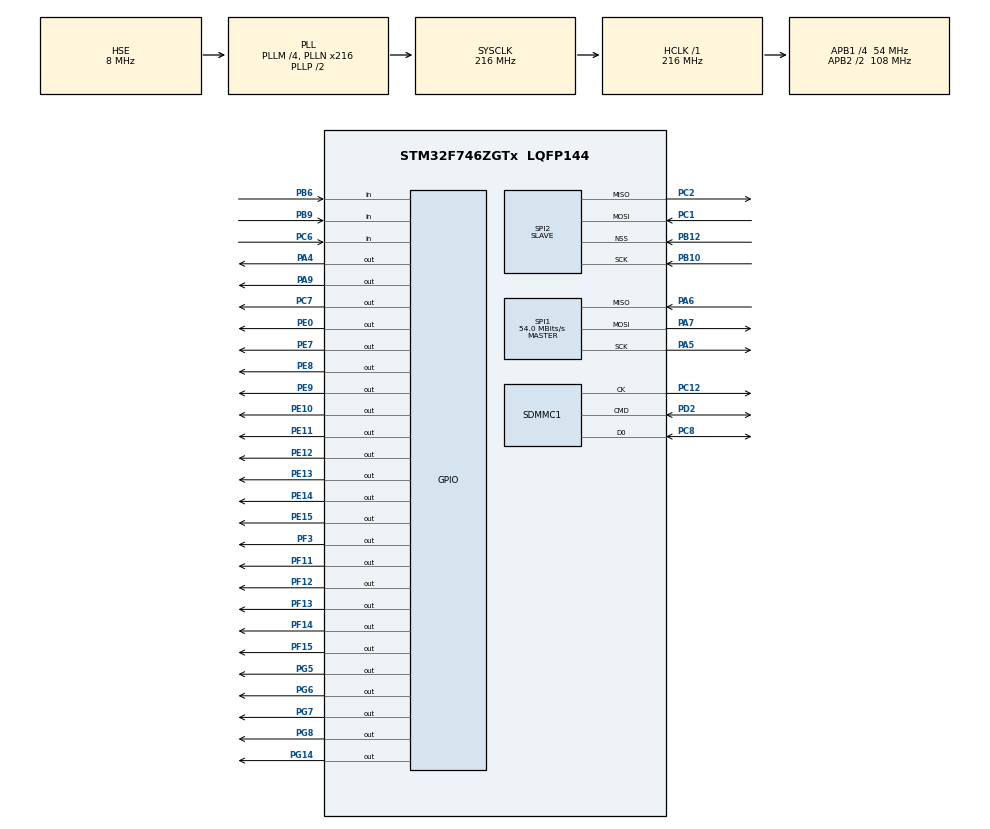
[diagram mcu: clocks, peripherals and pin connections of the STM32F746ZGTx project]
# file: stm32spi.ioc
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CORTEX_M7.ART_ACCLERATOR_ENABLE=1
CORTEX_M7.CPU_DCache=Enabled
CORTEX_M7.CPU_ICache=Enabled
CORTEX_M7.PREFETCH_ENABLE=1
Dma.Request0=SPI2_RX
Dma.SPI2_RX.0.Direction=DMA_PERIPH_TO_MEMORY
Dma.SPI2_RX.0.FIFOMode=DMA_FIFOMODE_DISABLE
Dma.SPI2_RX.0.Instance=DMA1_Stream3
Dma.SPI2_RX.0.MemDataAlignment=DMA_MDATAALIGN_BYTE
Dma.SPI2_RX.0.MemInc=DMA_MINC_ENABLE
Dma.SPI2_RX.0.Mode=DMA_CIRCULAR
Dma.SPI2_RX.0.PeriphDataAlignment=DMA_PDATAALIGN_BYTE
Dma.SPI2_RX.0.PeriphInc=DMA_PINC_DISABLE
Dma.SPI2_RX.0.Priority=DMA_PRIORITY_LOW
FATFS.BSP.number=1
FATFS._FS_EXFAT=1
FATFS._FS_LOCK=1
FATFS._FS_NOFSINFO=3
FATFS._FS_RPATH=2
FATFS._USE_LFN=2
FATFS._VOLUMES=1
FATFS0.BSP.STBoard=false
FATFS0.BSP.api=Unknown
FATFS0.BSP.i2caddr=0
FATFS0.BSP.instance=PB9
FATFS0.BSP.ip=GPIO
FATFS0.BSP.mode=Input
FATFS0.BSP.name=Detect_SDIO
FATFS0.BSP.solution=PB9
Mcu.Family=STM32F7
Mcu.Name=STM32F746ZGTx
Mcu.Package=LQFP144
NVIC.DMA1_Stream3_IRQn=true\:0\:0\:false\:false\:true\:false
NVIC.PriorityGroup=NVIC_PRIORITYGROUP_4
NVIC.RCC_IRQn=true\:0\:0\:false\:false\:true\:true
NVIC.SPI1_IRQn=true\:0\:0\:false\:false\:true\:true
NVIC.SPI2_IRQn=true\:0\:0\:false\:false\:true\:true
PA13.Mode=Serial_Wire
PA13.Signal=SYS_JTMS-SWDIO
PA14.Mode=Serial_Wire
PA14.Signal=SYS_JTCK-SWCLK
PA4.GPIO_Speed=GPIO_SPEED_FREQ_VERY_HIGH
PA4.PinState=GPIO_PIN_SET
PA4.Signal=GPIO_Output
PA5.Mode=Full_Duplex_Master
PA5.Signal=SPI1_SCK
PA6.Mode=Full_Duplex_Master
PA6.Signal=SPI1_MISO
PA7.Mode=Full_Duplex_Master
PA7.Signal=SPI1_MOSI
PA9.GPIO_PuPd=GPIO_PULLUP
PA9.GPIO_Speed=GPIO_SPEED_FREQ_VERY_HIGH
PA9.Signal=GPIO_Output
PB10.Mode=Full_Duplex_Slave
PB10.Signal=SPI2_SCK
PB12.Mode=NSS_Signal_Hard_Input
PB12.Signal=SPI2_NSS
PB6.GPIO_PuPd=GPIO_PULLUP
PB6.Signal=GPIO_Input
PB9.Signal=GPIO_Input
PC1.Mode=Full_Duplex_Slave
PC1.Signal=SPI2_MOSI
PC12.Mode=SD_1_bit
PC12.Signal=SDMMC1_CK
PC2.Mode=Full_Duplex_Slave
PC2.Signal=SPI2_MISO
PC6.Signal=GPIO_Input
PC7.GPIO_PuPd=GPIO_PULLUP
PC7.GPIO_Speed=GPIO_SPEED_FREQ_VERY_HIGH
PC7.Signal=GPIO_Output
PC8.Mode=SD_1_bit
PC8.Signal=SDMMC1_D0
PD2.Mode=SD_1_bit
PD2.Signal=SDMMC1_CMD
PE0.Signal=GPIO_Output
PE10.Signal=GPIO_Output
PE11.Signal=GPIO_Output
PE12.Signal=GPIO_Output
PE13.Signal=GPIO_Output
PE14.Signal=GPIO_Output
PE15.Signal=GPIO_Output
PE7.Signal=GPIO_Output
PE8.Signal=GPIO_Output
PE9.Signal=GPIO_Output
PF11.Signal=GPIO_Output
PF12.Signal=GPIO_Output
PF13.Signal=GPIO_Output
PF14.Signal=GPIO_Output
PF15.Signal=GPIO_Output
PF3.Signal=GPIO_Output
PG14.Signal=GPIO_Output
PG5.Signal=GPIO_Output
PG6.Signal=GPIO_Output
PG7.Signal=GPIO_Output
PG8.Signal=GPIO_Output
PH0/OSC_IN.Mode=HSE-External-Oscillator
PH0/OSC_IN.Signal=RCC_OSC_IN
PH1/OSC_OUT.Mode=HSE-External-Oscillator
PH1/OSC_OUT.Signal=RCC_OSC_OUT
ProjectManager.HeapSize=0x2000
ProjectManager.StackSize=0x8000
ProjectManager.TargetToolchain=SW4STM32
RCC.AHBFreq_Value=216000000
RCC.APB1CLKDivider=RCC_HCLK_DIV4
RCC.APB1Freq_Value=54000000
RCC.APB1TimFreq_Value=108000000
RCC.APB2CLKDivider=RCC_HCLK_DIV2
RCC.APB2Freq_Value=108000000
RCC.APB2TimFreq_Value=216000000
RCC.CortexFreq_Value=216000000
RCC.HCLKFreq_Value=216000000
RCC.HSE_VALUE=8000000
RCC.HSI_VALUE=16000000
RCC.LSE_VALUE=32768
RCC.PLLM=4
RCC.PLLN=216
RCC.PLLQ=9
RCC.PLLSourceVirtual=RCC_PLLSOURCE_HSE
RCC.SDMMCClockSelection=RCC_SDMMC1CLKSOURCE_CLK48
RCC.SYSCLKFreq_VALUE=216000000
RCC.SYSCLKSource=RCC_SYSCLKSOURCE_PLLCLK
RCC.USBFreq_Value=48000000
RCC.VCOOutputFreq_Value=432000000
SPI1.CalculateBaudRate=54.0 MBits/s
SPI1.DataSize=SPI_DATASIZE_16BIT
SPI1.Direction=SPI_DIRECTION_2LINES
SPI1.Mode=SPI_MODE_MASTER
SPI1.VirtualType=VM_MASTER
SPI2.CRCCalculation=SPI_CRCCALCULATION_DISABLE
SPI2.DataSize=SPI_DATASIZE_16BIT
SPI2.Direction=SPI_DIRECTION_2LINES
SPI2.Mode=SPI_MODE_SLAVE
SPI2.VirtualNSS=VM_NSSHARD
SPI2.VirtualType=VM_SLAVE
VP_FATFS_VS_SDIO.Mode=SDIO
board=custom

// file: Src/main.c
/* USER CODE BEGIN Header */
/**
  ******************************************************************************
  * @file           : main.c
  * @brief          : Main program body
  ******************************************************************************
  ** This notice applies to any and all portions of this file
  * that are not between comment pairs USER CODE BEGIN and
  * USER CODE END. Other portions of this file, whether
  * inserted by the user or by software development tools
  * are owned by their respective copyright owners.
  *
  * COPYRIGHT(c) 2018 STMicroelectronics
  *
  * Redistribution and use in source and binary forms, with or without modification,
  * are permitted provided that the following conditions are met:
  *   1. Redistributions of source code must retain the above copyright notice,
  *      this list of conditions and the following disclaimer.
  *   2. Redistributions in binary form must reproduce the above copyright notice,
  *      this list of conditions and the following disclaimer in the documentation
  *      and/or other materials provided with the distribution.
  *   3. Neither the name of STMicroelectronics nor the names of its contributors
  *      may be used to endorse or promote products derived from this software
  *      without specific prior written permission.
  *
  * THIS SOFTWARE IS PROVIDED BY THE COPYRIGHT HOLDERS AND CONTRIBUTORS "AS IS"
  * AND ANY EXPRESS OR IMPLIED WARRANTIES, INCLUDING, BUT NOT LIMITED TO, THE
  * IMPLIED WARRANTIES OF MERCHANTABILITY AND FITNESS FOR A PARTICULAR PURPOSE ARE
  * DISCLAIMED. IN NO EVENT SHALL THE COPYRIGHT HOLDER OR CONTRIBUTORS BE LIABLE
  * FOR ANY DIRECT, INDIRECT, INCIDENTAL, SPECIAL, EXEMPLARY, OR CONSEQUENTIAL
  * DAMAGES (INCLUDING, BUT NOT LIMITED TO, PROCUREMENT OF SUBSTITUTE GOODS OR
  * SERVICES; LOSS OF USE, DATA, OR PROFITS; OR BUSINESS INTERRUPTION) HOWEVER
  * CAUSED AND ON ANY THEORY OF LIABILITY, WHETHER IN CONTRACT, STRICT LIABILITY,
  * OR TORT (INCLUDING NEGLIGENCE OR OTHERWISE) ARISING IN ANY WAY OUT OF THE USE
  * OF THIS SOFTWARE, EVEN IF ADVISED OF THE POSSIBILITY OF SUCH DAMAGE.
  *
  ******************************************************************************
  */
/* USER CODE END Header */

#include "main.h"
#include "dma.h"
#include "fatfs.h"
#include "sdmmc.h"
#include "spi.h"
#include "gpio.h"

/* USER CODE BEGIN Includes */
#include "stdio.h"
/* USER CODE END Includes */

void SystemClock_Config(void);

/* USER CODE BEGIN 0 */
//DEL_1
#define SpiEn		HAL_GPIO_WritePin(GPIOA,GPIO_PIN_4,GPIO_PIN_RESET);
#define SpiDis		HAL_GPIO_WritePin(GPIOA,GPIO_PIN_4,GPIO_PIN_SET);
#define ResendEn	HAL_GPIO_WritePin(GPIOA, GPIO_PIN_9, GPIO_PIN_RESET);
#define ResendDis	HAL_GPIO_WritePin(GPIOA, GPIO_PIN_9, GPIO_PIN_SET);
#define SendDis		HAL_GPIO_WritePin(GPIOC, GPIO_PIN_7, GPIO_PIN_RESET);
#define SendEn		HAL_GPIO_WritePin(GPIOC, GPIO_PIN_7, GPIO_PIN_SET);
#define ResetEn 	HAL_GPIO_WritePin(GPIOB, GPIO_PIN_6, GPIO_PIN_RESET);
#define ResetDis	HAL_GPIO_WritePin(GPIOB, GPIO_PIN_6, GPIO_PIN_SET);
#define SD_GET_INFO         0x1B1B
#define SD_GET_SIZE         0x2D2D
#define SD_GET_OPEN_SPACE   0x3636
#define SD_LOAD_ISO         0x4E4E
#define SD_TYPE				0x02
#define SD_VER				0x01
#define SD_CAPACITY			0x0000

uint8_t send_data = 32;
uint8_t receive_data = 0;
char readData[32];

FRESULT res;
FATFS SDFatFs;
FIL myFile;
char buffwr[30] = "This is Test programming\n\r";
char buffrd[30];
//char SDPath[10];
uint32_t byteswritten, bytesread;
//enum _bool{
//	false = 0,
//	true = 1;
//};
typedef enum _bool boolean;

/*
 * The Txbuffer in hardware should empty, we have the address, read it.
 * Find the function that takes in the Tx buffer and copies it to the Rx buffer.
 */

/* USER CODE END 0 */

int main(void)
{

  /* Enable I-Cache---------------------------------------------------------*/
  SCB_EnableICache();

  /* Enable D-Cache---------------------------------------------------------*/
  SCB_EnableDCache();

  /* MCU Configuration--------------------------------------------------------*/

  /* Reset of all peripherals, Initializes the Flash interface and the Systick. */
  HAL_Init();

  /* Configure the system clock */
  SystemClock_Config();

  /* Initialize all configured peripherals */
  MX_GPIO_Init();
  MX_DMA_Init();
  MX_SPI2_Init();
  MX_SPI1_Init();
  MX_SDMMC1_SD_Init();
  MX_FATFS_Init();
  /* USER CODE BEGIN 2 */

  //Init stuff
  SendDis;
  HAL_SPI_Receive_DMA(&hspi2, &receive_data, 1);

  /*
  //FatFS stuff
  FATFS myFATFS;
  FIL myFILE;
  UINT testByte;

  //Write file to SD Card.
  if(f_mount(&myFATFS, SDPath, 1) == FR_OK)
  {
	  //HAL_GPIO_TogglePin(GPIOD, GPIO_PIN_12);
	  char myPath[] = "Write1.txt\0";
	  f_open(&myFILE, myPath, FA_WRITE | FA_CREATE_ALWAYS);
	  char myData[] = "Hello World\0";
	  f_write(&myFILE, myData, sizeof(myData), &testByte);
	  f_close(&myFILE);
	  HAL_Delay(1000);
	  //HAL_GPIO_TogglePin(GPIOD, GPIO_PIN_13);
  }

  //Read file from SD Card.
  if(f_mount(&myFATFS, SDPath, 1) == FR_OK)
    {
  	  //HAL_GPIO_TogglePin(GPIOD, GPIO_PIN_12);
  	  char myPath[] = "Read1.txt\0";
  	  f_open(&myFILE, myPath, FA_READ | FA_OPEN_ALWAYS);
  	  f_read(&myFILE, readData, 32, &testByte);
  	  f_close(&myFILE);
  	  HAL_Delay(1000);
  	  //HAL_GPIO_TogglePin(GPIOD, GPIO_PIN_13);
    }
    */

  // This checks if there is an SD card inserted. It's inverted in the driver software, so we
  // are checking if "res" is ok rather than not ok. Since this ignores any error that isn't
  // a missing SD card, a better solution would be to invert the signal at the hardware level
  // using a NOT gate and then check if "res" is not ok. Or perhaps get better driver software.
  res = BSP_SD_Init();
  if(res != FR_OK){
	  Error_Handler();
  }

  // String is "C:sdch"
  // Volume is -1 which returns "FR_INVALID_DRIVE"
  // Reason: first checks if path is not null.
  //	Checks for ":" in the path = passes
  //	Check for a numeric drive id = fails because path++ - '0' = 19, which is more than 9
  //	 To pass this part, we need 9 or less.
  //	This part depends on what the path is, just a slash fails the contains ':' check, giving a volume of 0
  //	"C:sdch" gives a volume of -1
  //	0:/ gives volume of 0
  //	Code currently hard faults.
  res = f_mount(&SDFatFs, "0:/", 1);
  if(res != FR_OK){
	  Error_Handler();
  }

  res = f_open(&myFile, "youtube1.txt", FA_OPEN_ALWAYS|FA_WRITE|FA_READ);
  if(res != FR_OK){
	  Error_Handler();
  }

  res = f_lseek(&myFile, f_size(&myFile));
  if(res != FR_OK){
	  Error_Handler();
  }

  f_printf(&myFile, "%s", buffwr);
  if(res != FR_OK){
	  Error_Handler();
  }
  f_close(&myFile);

  res = f_open(&myFile, "youtube1.txt", FA_READ);
  if(res != FR_OK){
	  Error_Handler();
  }

  res = f_read(&myFile, buffrd, 30, &bytesread);
  if(res != FR_OK){
	  Error_Handler();
  }
  f_close(&myFile);
  f_mount(0, "", 1);

  /* USER CODE END 2 */

  /* Infinite loop */
  /* USER CODE BEGIN WHILE */
  while (1)
  {
	  if(HAL_GPIO_ReadPin(GPIOC, GPIO_PIN_6) == GPIO_PIN_SET)
	  {
		  //Fill send buffer
		  HAL_Delay(15);
		  send_data = SD_TYPE;
		  //Toggle send
		  SendEn;
		  SendDis;
		  while(HAL_GPIO_ReadPin(GPIOC, GPIO_PIN_6) != GPIO_PIN_SET){}
		  HAL_Delay(15);
		  //Fill send buffer
		  send_data = 0x00;
		  //Toggle send
		  SendEn;
		  SendDis;
	  }
	  if(receive_data == SD_GET_INFO)
	  {
		  //Fill send buffer
		  send_data = SD_TYPE;
		  //Toggle send
		  SendEn;
		  SendDis;
		  //Wait for receive to be filled with zeroes
		  while(receive_data != 0x00){}
		  //Fill send buffer
		  send_data = 0x00;
		  //Toggle send
		  SendEn;
		  SendDis;
	  }
	  //SpiEn;
	  //HAL_SPI_Transmit_IT(&hspi1, &send_data, 1);
	  //HAL_Delay(1000);
	  //send_data++;

    /* USER CODE END WHILE */

  }
}

void SystemClock_Config(void)
{
  RCC_OscInitTypeDef RCC_OscInitStruct = {0};
  RCC_ClkInitTypeDef RCC_ClkInitStruct = {0};
  RCC_PeriphCLKInitTypeDef PeriphClkInitStruct = {0};

  /**Configure the main internal regulator output voltage
  */
  __HAL_RCC_PWR_CLK_ENABLE();
  __HAL_PWR_VOLTAGESCALING_CONFIG(PWR_REGULATOR_VOLTAGE_SCALE1);
  /**Initializes the CPU, AHB and APB busses clocks
  */
  RCC_OscInitStruct.OscillatorType = RCC_OSCILLATORTYPE_HSE;
  RCC_OscInitStruct.HSEState = RCC_HSE_ON;
  RCC_OscInitStruct.PLL.PLLState = RCC_PLL_ON;
  RCC_OscInitStruct.PLL.PLLSource = RCC_PLLSOURCE_HSE;
  RCC_OscInitStruct.PLL.PLLM = 4;
  RCC_OscInitStruct.PLL.PLLN = 216;
  RCC_OscInitStruct.PLL.PLLP = RCC_PLLP_DIV2;
  RCC_OscInitStruct.PLL.PLLQ = 9;
  if (HAL_RCC_OscConfig(&RCC_OscInitStruct) != HAL_OK)
  {
    Error_Handler();
  }
  /**Activate the Over-Drive mode
  */
  if (HAL_PWREx_EnableOverDrive() != HAL_OK)
  {
    Error_Handler();
  }
  /**Initializes the CPU, AHB and APB busses clocks
  */
  RCC_ClkInitStruct.ClockType = RCC_CLOCKTYPE_HCLK|RCC_CLOCKTYPE_SYSCLK
                              |RCC_CLOCKTYPE_PCLK1|RCC_CLOCKTYPE_PCLK2;
  RCC_ClkInitStruct.SYSCLKSource = RCC_SYSCLKSOURCE_PLLCLK;
  RCC_ClkInitStruct.AHBCLKDivider = RCC_SYSCLK_DIV1;
  RCC_ClkInitStruct.APB1CLKDivider = RCC_HCLK_DIV4;
  RCC_ClkInitStruct.APB2CLKDivider = RCC_HCLK_DIV2;

  if (HAL_RCC_ClockConfig(&RCC_ClkInitStruct, FLASH_LATENCY_7) != HAL_OK)
  {
    Error_Handler();
  }
  PeriphClkInitStruct.PeriphClockSelection = RCC_PERIPHCLK_SDMMC1|RCC_PERIPHCLK_CLK48;
  PeriphClkInitStruct.Clk48ClockSelection = RCC_CLK48SOURCE_PLL;
  PeriphClkInitStruct.Sdmmc1ClockSelection = RCC_SDMMC1CLKSOURCE_CLK48;
  if (HAL_RCCEx_PeriphCLKConfig(&PeriphClkInitStruct) != HAL_OK)
  {
    Error_Handler();
  }
}

/* USER CODE BEGIN 4 */

void HAL_SPI_TxCpltCallback(SPI_HandleTypeDef *hspi)
{
	if(hspi->Instance == hspi1.Instance)
	{
		SpiDis;
	}
}

/* USER CODE END 4 */

void Error_Handler(void)
{
  /* USER CODE BEGIN Error_Handler_Debug */
  /* User can add his own implementation to report the HAL error return state */
	HAL_Delay(100);

  /* USER CODE END Error_Handler_Debug */
}

/************************ (C) COPYRIGHT STMicroelectronics *****END OF FILE****/
